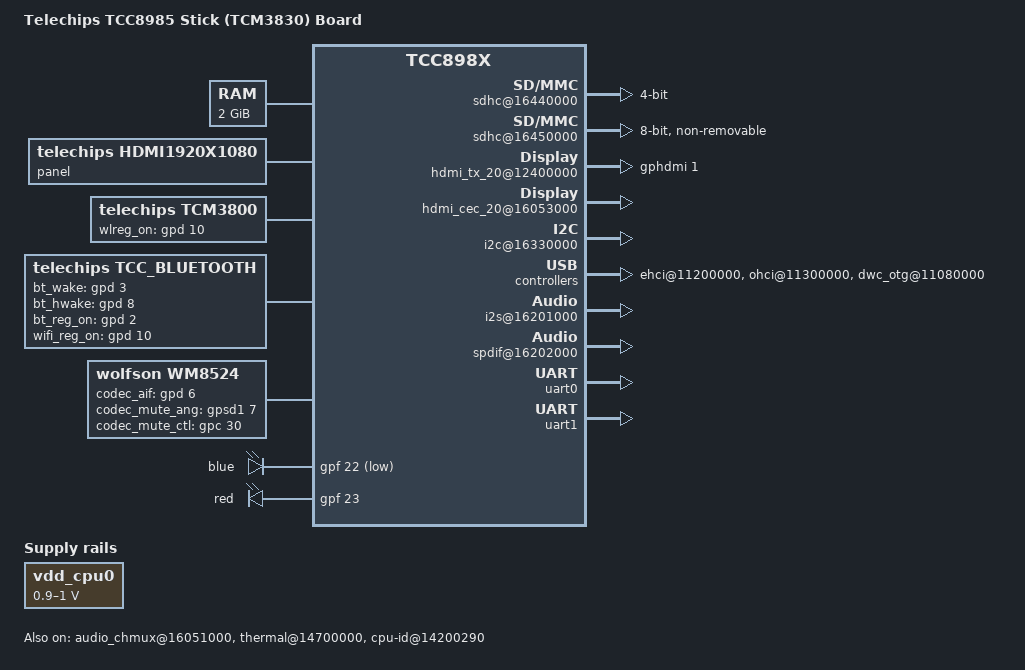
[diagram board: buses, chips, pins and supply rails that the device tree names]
/*
 * Device tree for Telechips TCC8985 OTT board
 *
 * Copyright (C) 2016 Telechips Inc. - http://www.telechips.com
 *
 * This file is dual-licensed: you can use it either under the terms
 * of the GPL or the X11 license, at your option. Note that this dual
 * licensing only applies to this file, and not this project as a
 * whole.
 *
 *  a) This file is free software; you can redistribute it and/or
 *     modify it under the terms of the GNU General Public License as
 *     published by the Free Software Foundation; either version 2 of the
 *     License, or (at your option) any later version.
 *
 *     This file is distributed in the hope that it will be useful,
 *     but WITHOUT ANY WARRANTY; without even the implied warranty of
 *     MERCHANTABILITY or FITNESS FOR A PARTICULAR PURPOSE.  See the
 *     GNU General Public License for more details.
 *
 * Or, alternatively,
 *
 *  b) Permission is hereby granted, free of charge, to any person
 *     obtaining a copy of this software and associated documentation
 *     files (the "Software"), to deal in the Software without
 *     restriction, including without limitation the rights to use,
 *     copy, modify, merge, publish, distribute, sublicense, and/or
 *     sell copies of the Software, and to permit persons to whom the
 *     Software is furnished to do so, subject to the following
 *     conditions:
 *
 *     The above copyright notice and this permission notice shall be
 *     included in all copies or substantial portions of the Software.
 *
 *     THE SOFTWARE IS PROVIDED "AS IS", WITHOUT WARRANTY OF ANY KIND,
 *     EXPRESS OR IMPLIED, INCLUDING BUT NOT LIMITED TO THE WARRANTIES
 *     OF MERCHANTABILITY, FITNESS FOR A PARTICULAR PURPOSE AND
 *     NONINFRINGEMENT. IN NO EVENT SHALL THE AUTHORS OR COPYRIGHT
 *     HOLDERS BE LIABLE FOR ANY CLAIM, DAMAGES OR OTHER LIABILITY,
 *     WHETHER IN AN ACTION OF CONTRACT, TORT OR OTHERWISE, ARISING
 *     FROM, OUT OF OR IN CONNECTION WITH THE SOFTWARE OR THE USE OR
 *     OTHER DEALINGS IN THE SOFTWARE.
 */

/dts-v1/;

#include "tcc8985.dtsi"
#include "tcc898x-android.dtsi"

/ {
	model = "Telechips TCC8985 Stick (TCM3830) Board";
	compatible = "telechips,tcc8985", "telechips,tcc898x";

	chosen {
	};

	memory@20000000 {
		device_type = "memory";
		reg = <0x20000000 0x80000000>;
	};

	cpus {
		cpu@0 {
			operating-points = <
				/* kHz    uV */
				998000 1000000
				817000  900000
			>;
		};
	};

	cpu0-regulators {
		compatible = "regulator-gpio";

		regulator-name = "vdd_cpu0";
		regulator-min-microvolt = < 900000>;
		regulator-max-microvolt = <1000000>;
		regulator-type = "voltage";
		regulator-always-on;

		gpios = <&gpf 0 0x4>;
		gpios-states = <1>;

		states = < 900000 0x0
			   1000000 0x0>;

		startup-delay-us = <100000>;
		enable-active-high;
	};

	panel {
		status = "okay";
		compatible = "telechips,hdmi1920x1080";
	};

	output_starter {
		status = "okay";
		persist_display_mode = <0>;
	};

	overlaymixer:overlaymixer@1A100000 {
		status ="okay";
		contiguousSize = <0x1000000>;  /* 16MB (if > 512MB RAM) refer to Guide 27 Page */
		baseAddress = <0x20000000>;
		physSize = <0x80000000>; /*  DRAM size (0x40000000 = 1GB, 0x80000000 = 2GB) */
	};

	fbdisplay: fbdisplay@12000000 {
		telechips,fbdisplay_num = <0>;
		status ="okay";
	};

	tcc_vsync_drv {
		compatible = "telechips,tcc_vsync";
		display-vioc0 = <&vioc_display0>;
		display-vioc1 = <&vioc_display1>;
		status = "okay";
	};

	tcc_video_viqe {
		compatible = "telechips,tcc_viqe";
		status ="okay";
		tcc_viqe_viqe_common {
			board_num=<1>;
		};
	};

	scaler_drv@1 {
		rdmas = <&vioc_rdma16>;
		scalers = <&vioc_sc1 17>;	/* id:1, path:17 */
		wmixs = <&vioc_wmix5 6>;	/* id:5, path:6 */
		wdmas = <&vioc_wdma6>;
		settop_support = <1>;
		status = "okay";
	};

	scaler_drv@3 {
		rdmas = <&vioc_rdma7>;
		scalers = <&vioc_sc3 7>;	/* id:3, path:7 */
		wmixs = <&vioc_wmix1 2>;	/* id:1, path:2 */
		wdmas = <&vioc_wdma1>;
		settop_support = <1>;
		status = "okay";
	};

	wmixer_drv@0 {
		status = "okay";
	};

	wmixer_drv@1 {
		status = "okay";
	};

	sdhc@16440000 { // Wi-Fi tcm3830
		status = "okay";
		controller-id = <0>;
		bus-width = <4>;
		max-frequency = <200000000>;
		pinctrl-names = "default", "active";
		pinctrl-0 = <&sd0_1_4_idle>;
		pinctrl-1 = <&sd0_1_clk &sd0_1_cmd &sd0_1_bus4 &out1_clk>;
		clocks = <&clk_peri PERI_SDMMC0 &clk_io IOBUS_SDMMC0 &clk_peri PERI_OUT1>;
		clock-names = "mmc_fclk", "mmc_hclk", "ext32";
		cd-inverted;
		//wp-inverted;
		//non-removable;
		//broken-cd;
		keep-power-in-suspend;
		//enable-sdio-wakeup;
		//cap-power-off-card;
		cap-sdio-irq;
		cap2-no-sleep-cmd;
		cap-bus-width-test;

		//wp-gpios = <&gpb 7 0>;
		//cd-gpios = <&gpext1 5 0>;
		//vctrl-gpio = <&gpc 25 0>;
		//pwr-gpio = <&gpext2 7 0>;

		//cd-polling;
		wifi-polling;
		ext32-enable; // make_rtc

		/* High-speed SDR */
		cap-sd-highspeed;
		cap-mmc-highspeed;

		/* High-speed DDR(emmc & SD3.0 DDR50) */
		//cap-1-8V-ddr;
		//cap-uhs-ddr50;

		/* SD3.0 & eMMC HS200 Common */
		cap-vdd-165-195;

		/* SD3.0 SDR12 */
		//cap-uhs-sdr12;

		/* SD3.0 SDR25 */
		//cap-uhs-sdr25;
		//cap-uhs-driver_type_a;

		/* SD3.0 SDR50 */
		//cap-uhs-sdr50;
		//cap-uhs-driver_type_c;

		/* SD3.0 SDR104 */
		cap-uhs-sdr104;
		cap-uhs-driver_type_d;
		cap-uhs-cmd23;
		cap-adma;

		/* eMMC HS200 */
		//mmc-hs200-1_8v;
		//cap-uhs-driver_type_d;
		//cap-uhs-cmd23;
		//cap-adma;
	};

	tcm3800 {
		compatible = "telechips, tcm3800";
		wlreg_on-gpio = <&gpd 10 0>;
	};

	tcc_bluetooth {
		compatible = "telechips, tcc_bluetooth";
		bt_wake-gpios = <&gpd 3 0>;
		bt_hwake-gpio = <&gpd 8 0>;
		bt_reg_on-gpio = <&gpd 2 0>;
//		bt_power-gpio = <&gpext2 10 0>;
		wifi_reg_on-gpio = <&gpd 10 0>;
		status = "okay";
	};

	sdhc@16450000 { // eMMC Boot
		status = "okay";
		controller-id = <1>;
		bus-width = <8>;
		max-frequency = <200000000>;
		pinctrl-names = "default", "active";
		pinctrl-0 = <&sd1_1_idle>;
		pinctrl-1 = <&sd1_1_clk &sd1_1_cmd &sd1_1_bus8>;
		//cd-inverted;
		//wp-inverted;
		non-removable;
		//broken-cd;
		//keep-power-in-suspend;
		//enable-sdio-wakeup;
		//cap-power-off-card;
		cap-sdio-irq;
		cap2-no-sleep-cmd;
		cap-bus-width-test;

		//wp-gpios = <&gpb 7 0>;
		//cd-gpios = <&gpext1 5 0>;
		//vctrl-gpio = <&gpsd 10 0>;
		//pwr-gpio = <&gpext2 7 0>;
		emmc-rst-gpio = <&gpa 6 0>; // To do : add handling code

		cd-polling;
		//wifi-polling;

		/* High-speed SDR */
		cap-sd-highspeed;
		cap-mmc-highspeed;

		/* High-speed DDR(emmc & SD3.0 DDR50) */
		//cap-1-8V-ddr;
		//cap-uhs-ddr50;

		/* SD3.0 Common */
		//cap-vdd-165-195;

		/* SD3.0 SDR12 */
		//cap-uhs-sdr12;

		/* SD3.0 SDR25 */
		//cap-uhs-sdr25;
		//cap-uhs-driver_type_a;

		/* SD3.0 SDR50 */
		//cap-uhs-sdr50;
		//cap-uhs-driver_type_c;

		/* SD3.0 SDR104 */
		//cap-uhs-sdr104;
		//cap-uhs-driver_type_d;
		//cap-uhs-cmd23;
		//cap-adma;

		/* eMMC HS200 */
		//mmc-hs200-1_8v;
		//cap-uhs-driver_type_d;
		//cap-uhs-cmd23;
		//cap-adma;
	};

	hdmi_tx_20@12400000 {
		status = "okay";
		pinctrl-names = "default";
		pinctrl-0 = <&hdmi_hpd>;
		hdmi_i2c_mapping = <&i2c3>;
		hdmi_i2c_mapping_val = <0xC 0xF 0x0E>;
		verbose = <0>; // 0 disable, 1 basic, 2 io
		gpios = <&gphdmi 1 0>; // HPD for output starter
		hdmi_phy_type = <1>; // 0 8980, 1 8985
	};

	hdmi_cec_20@16053000 {
		status = "okay";
		pinctrl-names = "default";
		pinctrl-0 = <&hdmi_cec>;
	};

	// HDMI
	i2c@16330000 {
		port-mux = <14>;
		status = "okay";
		pinctrl-names = "default";
		pinctrl-0 = <&i2c14_bus>;
	};

	/* USB 2.0 HOST */
	ehci_phy@111A0010{
		status = "okay";
	};

	mux_host_phy@111A00DC {
		status = "okay";
	};

	dwc_otg_phy@111A0100 {
		status = "okay";
	};

	ehci@11200000 {
		status = "okay";
		hcd_id = <0>;
		phy-type = <1>;	    //pico phy = 1, nano phy = 0
	};

	ohci@11300000 {
		status = "okay";
	};

	/* USB 2.0 OTG */
	dwc_otg@11080000 {
	    status = "okay";
	    phy-type = <1>;     //pico phy = 1, nano phy = 0

	};

	audio_chmux@16051000{
		compatible = "telechips,audio-chmux-898x";
		dai = <99 1>; // i2s0(x) i2s1(x)
		cdif = <99 1>; // cdif0(x) cdif1(x)
		spdif = <99 1>; // spdif0(x) spdif1(x)
		status = "okay";
	};

	i2s@16101000 {
		pinctrl-names = "default";
		pinctrl-0 = <&m0dai1_clks &m0dai1_d0>;
		status = "disable";
	};

	i2s@16201000 {
		pinctrl-names = "default";
		pinctrl-0 = <&m1dai1_clks &m1dai1_d0>;
		status = "okay";
	};

	spdif@16102000 {
		pinctrl-names = "default";
		pinctrl-0 = <&m0dai1_spdif_tx>;
		status = "disable";
	};

	spdif@16202000 {
		pinctrl-names = "default";
		pinctrl-0 = <&m1dai1_spdif_tx>;
		status = "okay";
	};

	adma@16100000 {
		status = "disable";
	};

	adma@16200000 {
		status = "okay";
	};

	wm8524: wm8524@0 {
		compatible = "wolfson,wm8524";
		status = "okay";

		codec_aif-gpios = <&gpd 6 0>;
		codec_mute_ang-gpios = <&gpsd1 7 0>;
		codec_mute_ctl-gpios = <&gpc 30 0>;
		/* value to enable mute*/
		codec_mute_ang-mute_value = <0>;
	};

	sound@0 {
		compatible = "telechips,snd-card";
		card-name = "TCC8980 STB Card";
		status = "okay";

		telechips,dai-link@0 {
			stream-name="I2S_1";

			codec,format = "i2s"; // i2s, left_j, right_j
			codec,continuous-clock;

			mclk_div = <16>; // 4,6,8,16
			bclk_ratio = <64>; // 32,48,64fs
			pcm = <&adma1>;
			dai = <&i2s1>;
			codec = <&wm8524>;
			codec,dai-name = "wm8524-hifi";
		};

		telechips,dai-link@1 {
			stream-name="SPDIF_1";

			pcm = <&adma1>;
			dai = <&spdif1>;
		};
	};

	thermal@14700000 {
		compatible = "telechips,tcc-thermal";
		reg = <0x14700000 0x4 0x14700030 0x4 0x14200290 0x4 0x1420029C 0x4>;
		clocks = <&clk_isoip_top ISOIP_TOP_TSEN>;
		status = "okay";

		throttle_count = <5>;
		throttle_active_count = <0>;
		throttle_passive_count = <5>;

		cal_type = "TYPE_ONE_POINT_TRIMMING";
		polling-delay-idle = <0>;
		polling-delay-passive = <0>;

		throttle_table {
			throttle_tab_0 {
				temp = <75>;
				freq_max_cluster0 = <1000000>;
				freq_max_cluster1 = <900000>;
			};
			throttle_tab_1 {
				temp = <80>;
				freq_max_cluster0 = <900000>;
				freq_max_cluster1 = <810000>;
			};
			throttle_tab_2 {
				temp = <85>;
				freq_max_cluster0 = <800000>;
				freq_max_cluster1 = <720000>;
			};
			throttle_tab_3 {
				temp = <90>;
				freq_max_cluster0 = <700000>;
				freq_max_cluster1 = <630000>;
			};
			throttle_tab_4 {
				temp = <95>;
				freq_max_cluster0 = <600000>;
				freq_max_cluster1 = <540000>;
			};
		};
	};

	cpu-id@14200290{
		compatible = "telechips,tcc-cpu-id";
		reg = <0x14200290 0x4 0x14200298 0x4 0x1420029C 0x4 0x14400014 0x4>;
		status = "okay";
	};

	run-control {
		compatible = "gpio-leds";
		blue {
			gpios = <&gpf 22 1>;
			default-state = "on";
		};
		red {
			gpios = <&gpf 23 0>;
			default-state = "on";
		};
	};
};

/* Console */
&uart0 {
	pinctrl-names = "default";
	pinctrl-0 = <&uart12_data>;
	status = "okay";
};

/* Bluetooth */
&uart1 {
	pinctrl-names = "default";
	pinctrl-0 = <&uart3_data &uart3_rtscts>;
	status = "okay";
};
